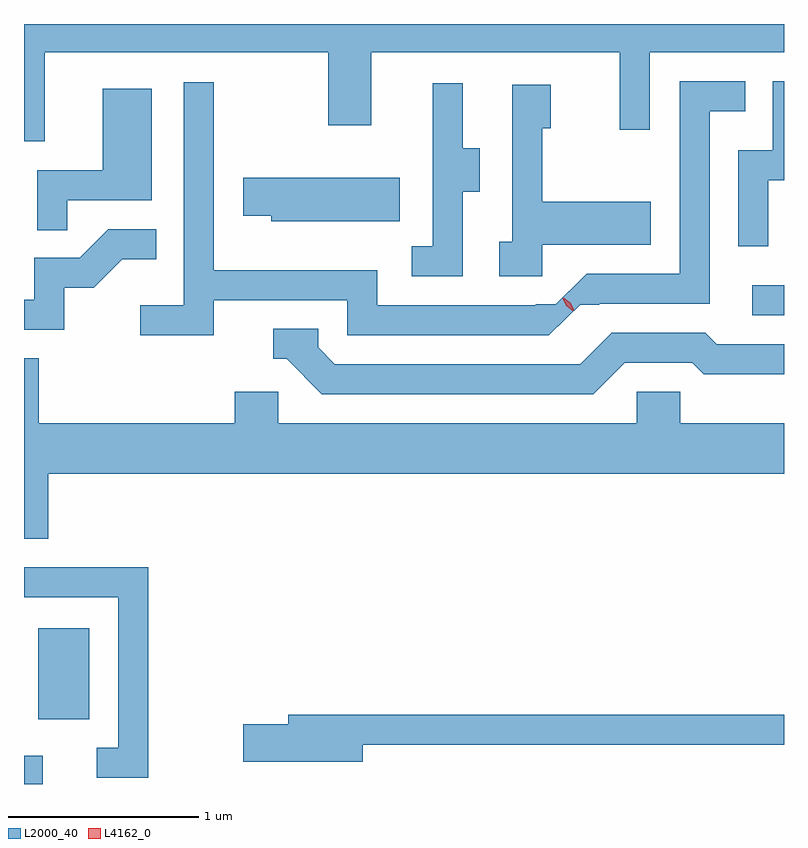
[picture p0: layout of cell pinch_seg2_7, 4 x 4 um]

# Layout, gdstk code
import gdstk
lib = gdstk.Library(unit=1e-6, precision=1e-09)
def R(c, l, rs):  # rectangles x0, y0, x1, y1
    for r in rs: c.add(gdstk.rectangle(r[:2], r[2:], *l))
def P(c, l, *ps):  # polygons
    for p in ps: c.add(gdstk.Polygon(p, *l))
L2000_40 = (2000, 40)
L4162_0 = (4162, 0)

pinch_seg2_7 = lib.new_cell('pinch_seg2_7')
R(pinch_seg2_7, L2000_40, [(1875.041,1077.764,1875.139,1077.914), (1875.116,1078.106,1875.384,1078.584), (1878.873,1080.231,1879.041,1080.389)])
P(pinch_seg2_7, L2000_40, [(1875.149,1081.616),(1876.641,1081.616),(1876.641,1081.231),(1876.869,1081.231),(1876.869,1081.616),(1878.176,1081.616),(1878.176,1081.208),(1878.334,1081.208),(1878.334,1081.616),(1879.041,1081.616),(1879.041,1081.764),(1875.041,1081.764),(1875.041,1081.146),(1875.149,1081.146)],
  [(1878.959,1080.941),(1879.041,1080.941),(1879.041,1081.464),(1878.981,1081.464),(1878.981,1081.099),(1878.801,1081.099),(1878.801,1080.593),(1878.959,1080.593)],
  [(1876.039,1080.311),(1876.741,1080.311),(1876.741,1080.126),(1877.804,1080.126),(1877.897,1080.219),(1877.898,1080.217),(1877.968,1080.287),(1878.068,1080.287),(1878.068,1080.291),(1878.649,1080.291),(1878.649,1081.306),(1878.838,1081.306),(1878.838,1081.464),(1878.491,1081.464),(1878.491,1080.449),(1878.003,1080.449),(1877.908,1080.355),(1877.907,1080.357),(1877.839,1080.289),(1877.735,1080.289),(1877.735,1080.284),(1876.899,1080.284),(1876.899,1080.469),(1876.039,1080.469),(1876.039,1081.458),(1875.881,1081.458),(1875.881,1080.284),(1875.653,1080.284),(1875.653,1080.126),(1876.039,1080.126)],
  [(1877.349,1080.881),(1877.439,1080.881),(1877.439,1081.109),(1877.349,1081.109),(1877.349,1081.453),(1877.191,1081.453),(1877.191,1080.594),(1877.083,1080.594),(1877.083,1080.436),(1877.349,1080.436)],
  [(1877.769,1080.601),(1878.339,1080.601),(1878.339,1080.829),(1877.769,1080.829),(1877.769,1081.216),(1877.814,1081.216),(1877.814,1081.444),(1877.611,1081.444),(1877.611,1080.619),(1877.541,1080.619),(1877.541,1080.436),(1877.769,1080.436)],
  [(1875.269,1080.836),(1875.714,1080.836),(1875.714,1081.424),(1875.456,1081.424),(1875.456,1080.994),(1875.111,1080.994),(1875.111,1080.678),(1875.269,1080.678)],
  [(1877.019,1080.954),(1876.196,1080.954),(1876.196,1080.756),(1876.341,1080.756),(1876.341,1080.726),(1877.019,1080.726)],
  [(1875.254,1080.376),(1875.407,1080.376),(1875.557,1080.526),(1875.738,1080.526),(1875.738,1080.684),(1875.484,1080.684),(1875.334,1080.534),(1875.096,1080.534),(1875.096,1080.314),(1875.041,1080.314),(1875.041,1080.156),(1875.254,1080.156)],
  [(1878.202,1079.981),(1878.559,1079.981),(1878.619,1079.921),(1879.041,1079.921),(1879.041,1080.079),(1878.687,1080.079),(1878.627,1080.139),(1878.134,1080.139),(1877.969,1079.974),(1876.677,1079.974),(1876.589,1080.062),(1876.589,1080.159),(1876.353,1080.159),(1876.353,1080.001),(1876.424,1080.001),(1876.609,1079.816),(1878.037,1079.816)],
  [(1875.169,1079.396),(1879.041,1079.396),(1879.041,1079.664),(1878.494,1079.664),(1878.494,1079.829),(1878.266,1079.829),(1878.266,1079.664),(1876.379,1079.664),(1876.379,1079.829),(1876.151,1079.829),(1876.151,1079.664),(1875.119,1079.664),(1875.119,1080.004),(1875.041,1080.004),(1875.041,1079.056),(1875.169,1079.056)],
  [(1875.694,1078.904),(1875.041,1078.904),(1875.041,1078.746),(1875.536,1078.746),(1875.536,1077.954),(1875.423,1077.954),(1875.423,1077.796),(1875.694,1077.796)],
  [(1876.824,1077.971),(1879.041,1077.971),(1879.041,1078.129),(1876.431,1078.129),(1876.431,1078.079),(1876.196,1078.079),(1876.196,1077.881),(1876.824,1077.881)])
P(pinch_seg2_7, L4162_0, [(1877.932,1080.253),(1877.896,1080.282),(1877.874,1080.322),(1877.874,1080.322),(1877.875,1080.322),(1877.911,1080.294),(1877.933,1080.254),(1877.933,1080.253)],
  [(1877.933,1080.261),(1877.9,1080.285),(1877.882,1080.322),(1877.882,1080.322),(1877.883,1080.322),(1877.916,1080.298),(1877.934,1080.262),(1877.934,1080.261)])

lib.write_gds('pinch_seg2_7.gds')
